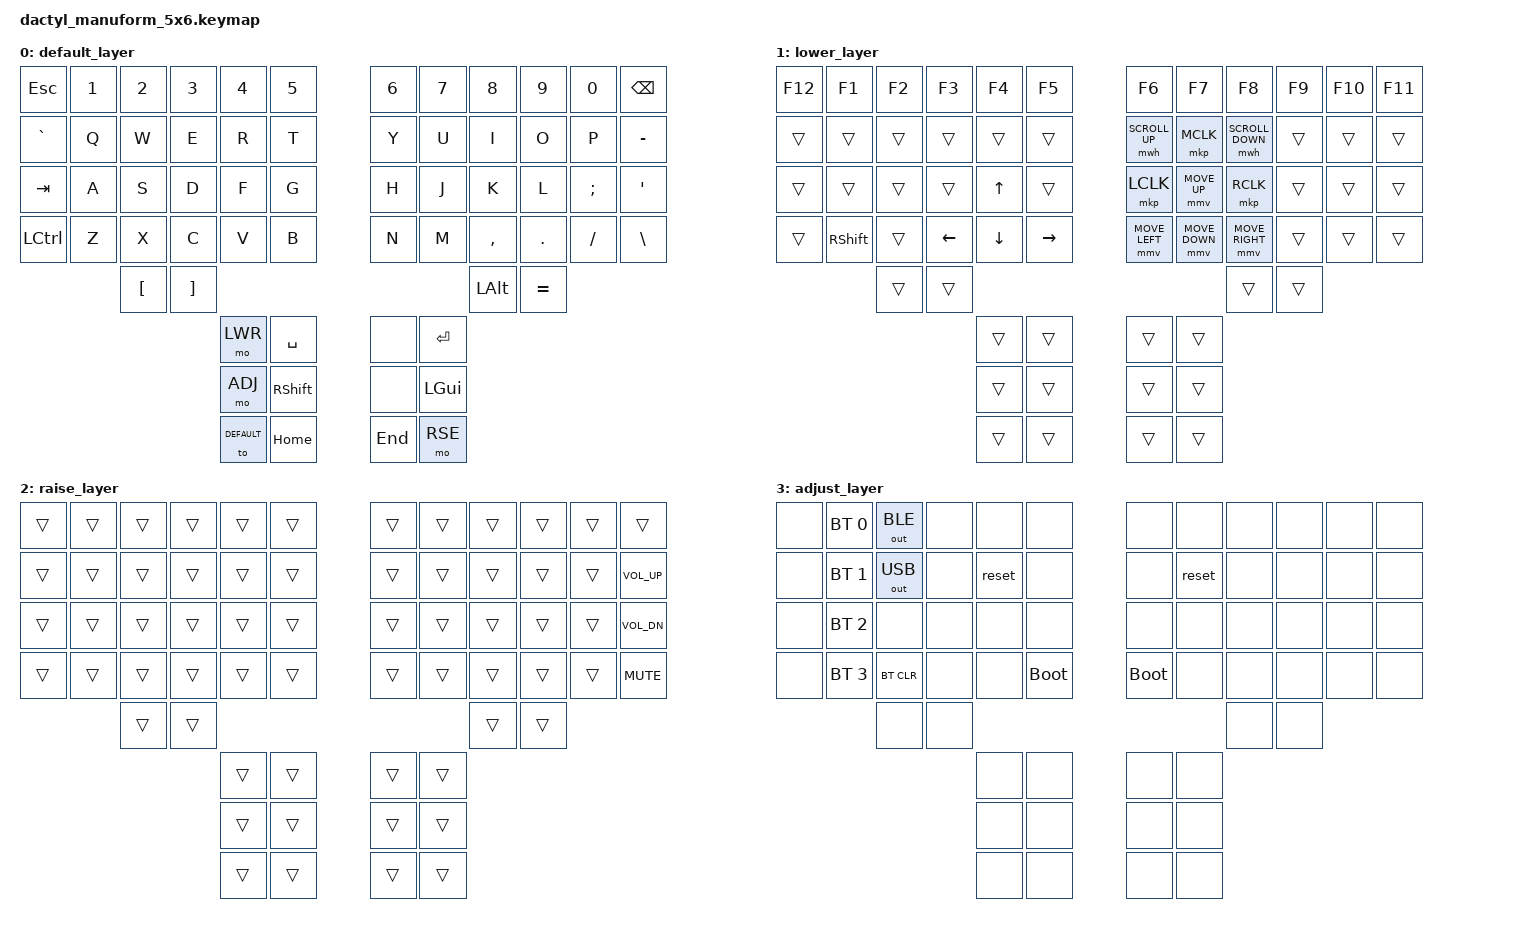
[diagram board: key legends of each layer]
#include <behaviors.dtsi>
#include <dt-bindings/zmk/keys.h>
#include <dt-bindings/zmk/bt.h>
#include <dt-bindings/zmk/outputs.h>
#include <dt-bindings/zmk/mouse.h>

#define DEFAULT 0
#define LWR 1
#define RSE 2
#define ADJ 3

/ {
    keymap {
        compatible = "zmk,keymap";

        default_layer {
            bindings = <
                &kp ESC   &kp N1 &kp N2 &kp N3 &kp N4 &kp N5              &kp N6 &kp N7 &kp N8    &kp N9  &kp N0   &kp BSPC
                &kp GRAVE &kp Q  &kp W  &kp E  &kp R  &kp T               &kp Y  &kp U  &kp I     &kp O   &kp P    &kp MINUS
                &kp TAB   &kp A  &kp S  &kp D  &kp F  &kp G               &kp H  &kp J  &kp K     &kp L   &kp SEMI &kp SQT
                &kp LCTRL &kp Z  &kp X  &kp C  &kp V  &kp B               &kp N  &kp M  &kp COMMA &kp DOT &kp FSLH &kp BSLH
                                 &kp LBKT &kp RBKT                                      &kp LALT &kp EQUAL
                                            &mo LWR  &kp SPACE              &none  &kp RET
                                            &mo ADJ   &kp RSHFT             &none  &kp LGUI
                                            &to DEFAULT &kp HOME            &kp END &mo RSE
            >;
        };

        lower_layer {
            bindings = <
                &kp F12 &kp F1    &kp F2 &kp F3   &kp F4   &kp F5                &kp F6         &kp F7         &kp F8           &kp F9 &kp F10 &kp F11
                &trans  &trans    &trans &trans   &trans   &trans                &mwh SCROLL_UP &mkp MCLK      &mwh SCROLL_DOWN &trans &trans  &trans
                &trans  &trans    &trans &trans   &kp UP   &trans                &mkp LCLK      &mmv MOVE_UP   &mkp RCLK        &trans &trans  &trans
                &trans  &kp RSHFT &trans &kp LEFT &kp DOWN &kp RIGHT             &mmv MOVE_LEFT &mmv MOVE_DOWN &mmv MOVE_RIGHT  &trans &trans  &trans
                                  &trans &trans                                              &trans &trans
                                                  &trans &trans                &trans &trans
                                                  &trans &trans                &trans &trans
                                                  &trans &trans                &trans &trans
            >;
        };

        raise_layer {
            bindings = <
                &trans  &trans &trans &trans &trans &trans                &trans &trans &trans &trans &trans &trans
                &trans  &trans &trans &trans &trans &trans                &trans &trans &trans &trans &trans &kp K_VOL_UP
                &trans  &trans &trans &trans &trans &trans                &trans &trans &trans &trans &trans &kp K_VOL_DN
                &trans  &trans &trans &trans &trans &trans                &trans &trans &trans &trans &trans &kp K_MUTE
                               &trans &trans                                            &trans &trans
                                             &trans &trans               &trans &trans
                                             &trans  &trans               &trans &trans
                                             &trans  &trans               &trans &trans
            >;
        };

        adjust_layer {
            bindings = <
                &none &bt BT_SEL 0 &out OUT_BLE &none &none  &none            &none       &none  &none &none &none &none
                &none &bt BT_SEL 1 &out OUT_USB &none &reset &none            &none       &reset &none &none &none &none
                &none &bt BT_SEL 2 &none        &none &none  &none            &none       &none  &none &none &none &none
                &none &bt BT_SEL 3 &bt BT_CLR   &none &none  &bootloader      &bootloader &none  &none &none &none &none
                                   &none        &none                                            &none &none
                                                      &none &none             &none &none
                                                      &none &none             &none &none
                                                      &none &none             &none &none
            >;
        };
    };
};
